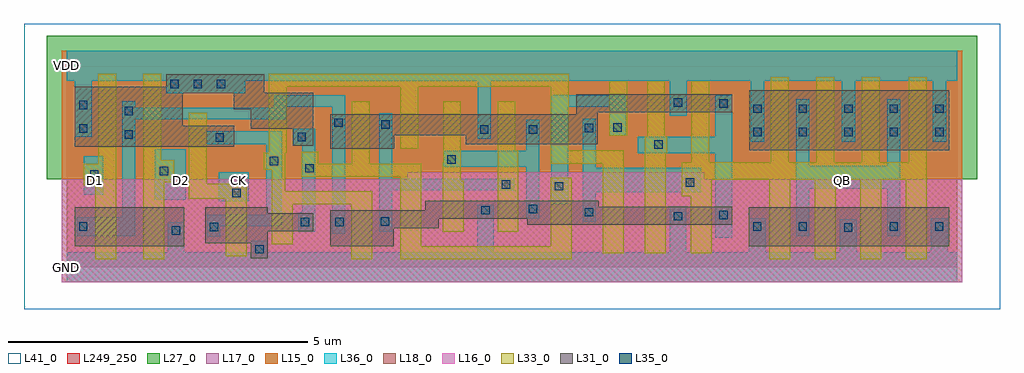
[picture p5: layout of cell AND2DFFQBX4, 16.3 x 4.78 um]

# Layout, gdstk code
import gdstk
lib = gdstk.Library(unit=1e-6, precision=1e-09)
def R(c, l, rs):  # rectangles x0, y0, x1, y1
    for r in rs: c.add(gdstk.rectangle(r[:2], r[2:], *l))
def A(c, l, x, y, w, h, nx, ny, dx, dy):  # array of equal rectangles
    R(c, l, [(x+i*dx, y+j*dy, x+i*dx+w, y+j*dy+h) for i in range(nx) for j in range(ny)])
def P(c, l, *ps):  # polygons
    for p in ps: c.add(gdstk.Polygon(p, *l))
L15_0 = (15, 0)
L16_0 = (16, 0)
L17_0 = (17, 0)
L18_0 = (18, 0)
L27_0 = (27, 0)
L31_0 = (31, 0)
L33_0 = (33, 0)
L35_0 = (35, 0)
L36_0 = (36, 0)
L41_0 = (41, 0)
L249_250 = (249, 250)

and2dffqbx4 = lib.new_cell('AND2DFFQBX4')
P(and2dffqbx4, L15_0, [(-0.08,1.47),(-0.08,3.61),(14.96,3.61),(14.96,1.47),(10.653,1.47),(10.653,1.58),(5.691,1.58),(5.691,1.47)])
P(and2dffqbx4, L16_0, [(-0.08,-0.25),(-0.08,1.47),(5.691,1.47),(5.691,1.58),(10.653,1.58),(10.653,1.47),(14.96,1.47),(14.96,-0.25)])
P(and2dffqbx4, L17_0, [(-0.08,1.47),(-0.08,3.61),(14.96,3.61),(14.96,1.47),(10.653,1.47),(10.653,1.58),(5.691,1.58),(5.691,1.47)])
P(and2dffqbx4, L18_0, [(-0.08,-0.25),(-0.08,1.47),(5.691,1.47),(5.691,1.58),(10.653,1.58),(10.653,1.47),(14.96,1.47),(14.96,-0.25)])
P(and2dffqbx4, L27_0, [(-0.33,1.47),(-0.33,3.86),(15.21,3.86),(15.21,1.47),(10.653,1.47),(10.653,1.58),(5.691,1.58),(5.691,1.47)])
R(and2dffqbx4, L31_0, [(0.14,0.35,1.97,1), (11.395,0.35,14.74,1), (11.399,1.95,14.74,2.95)])
P(and2dffqbx4, L31_0, [(1.66,2.009),(1.66,2.01),(0.14,2.01),(0.14,3.01),(1.662,3.01),(1.662,3.22),(3.299,3.22),(3.299,2.91),(4.123,2.91),(4.123,2.024),(3.779,2.024),(3.779,2.31),(3.079,2.31),(3.079,2.639),(2.797,2.639),(2.797,2.901),(1.939,2.901),(1.939,2.359),(2.799,2.359),(2.799,2.009)],
  [(4.403,1.98),(4.403,2.55),(8.513,2.55),(8.513,2.887),(11.115,2.887),(11.115,2.587),(8.868,2.587),(8.868,2.05),(6.668,2.05),(6.668,2.2),(5.472,2.2),(5.472,1.98)],
  [(4.404,0.35),(4.404,0.95),(5.994,0.95),(5.994,1.11),(8.889,1.11),(8.889,1.01),(11.115,1.01),(11.115,0.71),(7.698,0.71),(7.698,0.81),(6.214,0.81),(6.214,0.65),(5.463,0.65),(5.463,0.35)],
  [(3.08,0.148),(3.08,0.397),(2.32,0.397),(2.32,0.997),(3.36,0.997),(3.36,0.902),(4.124,0.902),(4.124,0.602),(3.36,0.602),(3.36,0.148)])
R(and2dffqbx4, L33_0, [(9.061,2.19,9.361,3.107)])
P(and2dffqbx4, L33_0, [(7.198,0.59),(7.198,2.77),(7.498,2.77),(7.498,1.95),(7.548,1.95),(7.548,0.59)],
  [(11.735,0.13),(11.735,1.46),(10.775,1.46),(10.775,0.23),(10.425,0.23),(10.425,1.182),(10.271,1.182),(10.271,1.755),(10.435,1.755),(10.435,3.107),(10.735,3.107),(10.735,1.755),(11.759,1.755),(11.759,3.17),(12.059,3.17),(12.059,1.755),(12.519,1.755),(12.519,3.17),(12.819,3.17),(12.819,1.755),(13.279,1.755),(13.279,3.17),(13.579,3.17),(13.579,1.755),(14.065,1.755),(14.065,3.17),(14.365,3.17),(14.365,0.13),(14.015,0.13),(14.015,1.46),(13.605,1.46),(13.605,0.13),(13.255,0.13),(13.255,1.46),(12.845,1.46),(12.845,0.13),(12.495,0.13),(12.495,1.46),(12.085,1.46),(12.085,0.13)],
  [(2.66,0.177),(2.66,1.138),(2.039,1.138),(2.039,2.579),(2.339,2.579),(2.339,1.388),(3.01,1.388),(3.01,0.177)],
  [(9.661,0.23),(9.661,2.188),(9.695,2.188),(9.695,3.107),(9.995,3.107),(9.995,2.188),(10.036,2.188),(10.036,1.908),(10.011,1.908),(10.011,0.23)],
  [(6.284,0.59),(6.284,1.743),(6.288,1.743),(6.288,2.77),(6.588,2.77),(6.588,1.441),(6.634,1.441),(6.634,0.59)],
  [(5.574,0.13),(5.574,1.51),(3.92,1.51),(3.92,1.924),(4.202,1.924),(4.202,1.73),(4.763,1.73),(4.763,2.77),(5.063,2.77),(5.063,1.73),(5.924,1.73),(5.924,0.35),(8.087,0.35),(8.087,1.49),(8.437,1.49),(8.437,0.13)],
  [(4.759,0.13),(4.759,1.05),(3.78,1.05),(3.78,0.382),(3.43,0.382),(3.43,1.629),(3.295,1.629),(3.295,1.909),(3.379,1.909),(3.379,3.23),(8.387,3.23),(8.387,1.95),(9.309,1.95),(9.309,0.23),(8.959,0.23),(8.959,1.73),(8.087,1.73),(8.087,3.01),(5.873,3.01),(5.873,1.98),(5.573,1.98),(5.573,3.01),(3.679,3.01),(3.679,1.909),(3.65,1.909),(3.65,1.27),(5.109,1.27),(5.109,0.13)],
  [(1.28,0.13),(1.28,3.23),(1.58,3.23),(1.58,1.781),(1.799,1.781),(1.799,1.419),(1.63,1.419),(1.63,0.13)],
  [(0.48,0.13),(0.48,1.364),(0.286,1.364),(0.286,1.726),(0.53,1.726),(0.53,3.23),(0.83,3.23),(0.83,0.13)])
A(and2dffqbx4, L35_0, 1.732, 2.99, 0.14, 0.14, 3, 1, 0.39, 0)
R(and2dffqbx4, L35_0, [(3.15,0.228,3.29,0.368), (1.76,0.54,1.9,0.68), (12.985,0.593,13.125,0.733), (2.39,0.598,2.53,0.738), (0.21,0.605,0.35,0.745), (11.465,0.605,11.605,0.745), (12.225,0.605,12.365,0.745), (13.745,0.605,13.885,0.745), (14.505,0.605,14.645,0.745), (4.489,0.68,4.629,0.82), (3.91,0.682,4.05,0.822), (5.249,0.69,5.389,0.83), (10.141,0.78,10.281,0.92), (10.905,0.797,11.045,0.937), (8.658,0.845,8.798,0.985), (6.928,0.88,7.068,1.02), (7.718,0.9,7.858,1.04), (2.77,1.167,2.91,1.307), (8.157,1.28,8.297,1.42), (7.268,1.31,7.408,1.45), (10.341,1.342,10.481,1.482), (0.394,1.481,0.534,1.621), (1.561,1.536,1.701,1.676), (3.99,1.58,4.13,1.72), (3.398,1.699,3.538,1.839), (6.358,1.73,6.498,1.87), (9.819,1.978,9.959,2.118), (2.489,2.095,2.629,2.235), (3.858,2.1,3.998,2.24), (0.97,2.147,1.11,2.287), (11.469,2.185,11.609,2.325), (12.225,2.185,12.365,2.325), (12.989,2.185,13.129,2.325), (13.745,2.185,13.885,2.325), (14.509,2.185,14.649,2.325), (6.906,2.23,7.046,2.37), (7.718,2.23,7.858,2.37), (0.21,2.245,0.35,2.385), (8.658,2.25,8.798,2.39), (9.131,2.26,9.271,2.4), (5.259,2.31,5.399,2.45), (4.473,2.34,4.613,2.48), (0.97,2.537,1.11,2.677), (11.469,2.575,11.609,2.715), (12.225,2.575,12.365,2.715), (12.989,2.575,13.129,2.715), (13.745,2.575,13.885,2.715), (14.509,2.575,14.649,2.715), (0.21,2.635,0.35,2.775), (10.905,2.66,11.045,2.8), (10.145,2.677,10.285,2.817)])
R(and2dffqbx4, L36_0, [(2.54,1.097,3.044,1.585), (1.471,1.125,1.993,1.965), (0.285,1.212,0.617,1.851)])
P(and2dffqbx4, L36_0, [(8.098,1.047),(8.098,2.87),(9.341,2.87),(9.341,2.19),(9.061,2.19),(9.061,2.68),(8.378,2.68),(8.378,1.047)],
  [(11.429,2.095),(11.429,3.11),(10.355,3.11),(10.355,2.53),(10.075,2.53),(10.075,3.11),(7.086,3.11),(7.086,2.14),(6.866,2.14),(6.866,3.11),(2.981,3.11),(2.981,2.9),(1.662,2.9),(1.662,3.11),(0.42,3.11),(0.42,2.175),(0.14,2.175),(0.14,3.11),(0,3.11),(0,3.61),(14.88,3.61),(14.88,3.11),(14.689,3.11),(14.689,2.095),(14.469,2.095),(14.469,3.11),(13.169,3.11),(13.169,2.095),(12.949,2.095),(12.949,3.11),(11.649,3.11),(11.649,2.095)],
  [(3.87,0.592),(3.87,0.912),(3.937,0.912),(3.937,2.025),(3.798,2.025),(3.798,2.31),(4.157,2.31),(4.157,0.592)],
  [(8.618,0.755),(8.618,2.48),(8.838,2.48),(8.838,1.663),(10.595,1.663),(10.595,1.252),(8.838,1.252),(8.838,0.755)],
  [(7.678,0.81),(7.678,1.68),(6.288,1.68),(6.288,1.94),(7.678,1.94),(7.678,2.46),(7.898,2.46),(7.898,0.81)],
  [(0,-0.25),(0,0.25),(1.69,0.25),(1.69,0.75),(1.97,0.75),(1.97,0.25),(3.08,0.25),(3.08,0.443),(3.36,0.443),(3.36,0.25),(6.858,0.25),(6.858,1.045),(7.138,1.045),(7.138,0.25),(10.071,0.25),(10.071,1.012),(10.351,1.012),(10.351,0.25),(11.395,0.25),(11.395,0.815),(11.675,0.815),(11.675,0.25),(12.915,0.25),(12.915,0.803),(13.195,0.803),(13.195,0.25),(14.435,0.25),(14.435,0.815),(14.715,0.815),(14.715,0.25),(14.88,0.25),(14.88,-0.25)],
  [(10.835,0.49),(10.835,1.903),(9.541,1.903),(9.541,2.178),(10.835,2.178),(10.835,2.87),(11.115,2.87),(11.115,0.49)],
  [(2.35,0.508),(2.35,0.873),(3.335,0.873),(3.335,1.61),(3.338,1.61),(3.338,2.05),(2.343,2.05),(2.343,2.27),(3.598,2.27),(3.598,0.683),(2.57,0.683),(2.57,0.508)],
  [(0.17,0.515),(0.17,0.835),(0.93,0.835),(0.93,2.767),(1.15,2.767),(1.15,2.66),(3.468,2.66),(3.468,2.87),(4.655,2.87),(4.655,0.56),(4.435,0.56),(4.435,0.59),(4.431,0.59),(4.431,0.91),(4.435,0.91),(4.435,2.68),(3.658,2.68),(3.658,2.47),(1.15,2.47),(1.15,0.515)],
  [(12.185,0.515),(12.185,2.805),(12.405,2.805),(12.405,1.692),(13.705,1.692),(13.705,2.805),(13.925,2.805),(13.925,0.515),(13.705,0.515),(13.705,1.307),(12.405,1.307),(12.405,0.515)],
  [(5.219,0.59),(5.219,2.57),(5.439,2.57),(5.439,1.475),(7.478,1.475),(7.478,1.285),(5.439,1.285),(5.439,0.59)])
R(and2dffqbx4, L41_0, [(-0.71,-0.708,15.59,4.068)])
R(and2dffqbx4, L249_250, [(0,0,14.88,3.36)])
and2dffqbx4.add(gdstk.Label('GND', (0,0), layer=211, texttype=0))
and2dffqbx4.add(gdstk.Label('VDD', (0,3.36), layer=211, texttype=0))
and2dffqbx4.add(gdstk.Label('CK', (2.88,1.44), layer=211, texttype=0))
and2dffqbx4.add(gdstk.Label('D2', (1.92,1.44), layer=211, texttype=0))
and2dffqbx4.add(gdstk.Label('D1', (0.48,1.44), layer=211, texttype=0))
and2dffqbx4.add(gdstk.Label('QB', (12.96,1.44), layer=211, texttype=0))

lib.write_gds('AND2DFFQBX4.gds')
